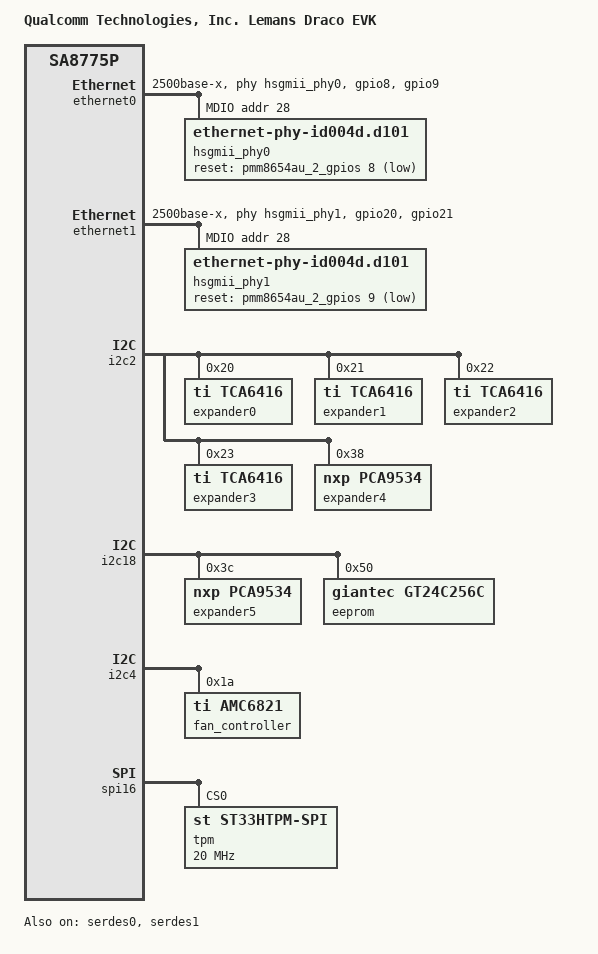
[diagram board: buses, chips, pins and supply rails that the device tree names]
// SPDX-License-Identifier: BSD-3-Clause
/*
 * Copyright (c) Qualcomm Technologies, Inc. and/or its subsidiaries.
 */
/dts-v1/;

#include "lemans-draco-evk-som.dtsi"

/ {
	model = "Qualcomm Technologies, Inc. Lemans Draco EVK";
	compatible = "qcom,lemans-draco-evk", "qcom,qcs9100",
		     "qcom,sa8775p";
	chassis-type = "embedded";

	aliases {
		ethernet0 = &ethernet0;
		ethernet1 = &ethernet1;
	};
};

&ethernet0 {
	phy-handle = <&hsgmii_phy0>;
	phy-mode = "2500base-x";

	pinctrl-0 = <&ethernet0_default>;
	pinctrl-names = "default";

	snps,mtl-rx-config = <&mtl_rx_setup>;
	snps,mtl-tx-config = <&mtl_tx_setup>;

	nvmem-cells = <&mac_addr0>;
	nvmem-cell-names = "mac-address";

	status = "okay";

	mdio {
		compatible = "snps,dwmac-mdio";
		#address-cells = <1>;
		#size-cells = <0>;

		hsgmii_phy0: ethernet-phy {
			compatible = "ethernet-phy-id004d.d101";
			reg = <0x1c>;
			reset-gpios = <&pmm8654au_2_gpios 8 GPIO_ACTIVE_LOW>;
			reset-assert-us = <11000>;
			reset-deassert-us = <70000>;
		};
	};

	mtl_rx_setup: rx-queues-config {
		snps,rx-queues-to-use = <4>;
		snps,rx-sched-sp;

		queue0 {
			snps,dcb-algorithm;
			snps,map-to-dma-channel = <0x0>;
			snps,route-up;
			snps,priority = <0x1>;
		};

		queue1 {
			snps,dcb-algorithm;
			snps,map-to-dma-channel = <0x1>;
			snps,route-ptp;
		};

		queue2 {
			snps,avb-algorithm;
			snps,map-to-dma-channel = <0x2>;
			snps,route-avcp;
		};

		queue3 {
			snps,avb-algorithm;
			snps,map-to-dma-channel = <0x3>;
			snps,priority = <0xc>;
		};
	};

	mtl_tx_setup: tx-queues-config {
		snps,tx-queues-to-use = <4>;

		queue0 {
			snps,dcb-algorithm;
		};

		queue1 {
			snps,dcb-algorithm;
		};

		queue2 {
			snps,avb-algorithm;
			snps,send_slope = <0x1000>;
			snps,idle_slope = <0x1000>;
			snps,high_credit = <0x3e800>;
			snps,low_credit = <0xffc18000>;
		};

		queue3 {
			snps,avb-algorithm;
			snps,send_slope = <0x1000>;
			snps,idle_slope = <0x1000>;
			snps,high_credit = <0x3e800>;
			snps,low_credit = <0xffc18000>;
		};
	};
};

&ethernet1 {
	phy-handle = <&hsgmii_phy1>;
	phy-mode = "2500base-x";

	pinctrl-0 = <&ethernet1_default>;
	pinctrl-names = "default";

	snps,mtl-rx-config = <&mtl_rx_setup1>;
	snps,mtl-tx-config = <&mtl_tx_setup1>;

	nvmem-cells = <&mac_addr1>;
	nvmem-cell-names = "mac-address";

	status = "okay";

	mdio {
		compatible = "snps,dwmac-mdio";
		#address-cells = <1>;
		#size-cells = <0>;

		hsgmii_phy1: ethernet-phy {
			compatible = "ethernet-phy-id004d.d101";
			reg = <0x1c>;
			reset-gpios = <&pmm8654au_2_gpios 9 GPIO_ACTIVE_LOW>;
			reset-assert-us = <11000>;
			reset-deassert-us = <70000>;
		};
	};

	mtl_rx_setup1: rx-queues-config {
		snps,rx-queues-to-use = <4>;
		snps,rx-sched-sp;

		queue0 {
			snps,dcb-algorithm;
			snps,map-to-dma-channel = <0x0>;
			snps,route-up;
			snps,priority = <0x1>;
		};

		queue1 {
			snps,dcb-algorithm;
			snps,map-to-dma-channel = <0x1>;
			snps,route-ptp;
		};

		queue2 {
			snps,avb-algorithm;
			snps,map-to-dma-channel = <0x2>;
			snps,route-avcp;
		};

		queue3 {
			snps,avb-algorithm;
			snps,map-to-dma-channel = <0x3>;
			snps,priority = <0xc>;
		};
	};

	mtl_tx_setup1: tx-queues-config {
		snps,tx-queues-to-use = <4>;

		queue0 {
			snps,dcb-algorithm;
		};

		queue1 {
			snps,dcb-algorithm;
		};

		queue2 {
			snps,avb-algorithm;
			snps,send_slope = <0x1000>;
			snps,idle_slope = <0x1000>;
			snps,high_credit = <0x3e800>;
			snps,low_credit = <0xffc18000>;
		};

		queue3 {
			snps,avb-algorithm;
			snps,send_slope = <0x1000>;
			snps,idle_slope = <0x1000>;
			snps,high_credit = <0x3e800>;
			snps,low_credit = <0xffc18000>;
		};
	};
};

&i2c2 {
	status = "okay";

	expander0: gpio@20 {
		compatible = "ti,tca6416";
		reg = <0x20>;
		#gpio-cells = <2>;
		gpio-controller;
	};

	expander1: gpio@21 {
		compatible = "ti,tca6416";
		reg = <0x21>;
		#gpio-cells = <2>;
		gpio-controller;
	};

	expander2: gpio@22 {
		compatible = "ti,tca6416";
		reg = <0x22>;
		#gpio-cells = <2>;
		gpio-controller;
	};

	expander3: gpio@23 {
		compatible = "ti,tca6416";
		reg = <0x23>;
		#gpio-cells = <2>;
		gpio-controller;
	};

	expander4: gpio@38 {
		compatible = "nxp,pca9534";
		reg = <0x38>;
		#gpio-cells = <2>;
		gpio-controller;
	};
};

&tlmm {
	expander_int: expander-int-state {
		pins = "gpio22";
		function = "gpio";
		bias-pull-up;
		input-enable;
	};

	ethernet0_default: ethernet0-default-state {
		ethernet0_mdc: ethernet0-mdc-pins {
			pins = "gpio8";
			function = "emac0_mdc";
			drive-strength = <16>;
			bias-pull-up;
		};

		ethernet0_mdio: ethernet0-mdio-pins {
			pins = "gpio9";
			function = "emac0_mdio";
			drive-strength = <16>;
			bias-pull-up;
		};
	};

	ethernet1_default: ethernet1-default-state {
		ethernet1_mdc: ethernet1-mdc-pins {
			pins = "gpio20";
			function = "emac1_mdc";
			drive-strength = <16>;
			bias-pull-up;
		};

		ethernet1_mdio: ethernet1-mdio-pins {
			pins = "gpio21";
			function = "emac1_mdio";
			drive-strength = <16>;
			bias-pull-up;
		};
	};
};

&i2c18 {
	status = "okay";

	expander5: gpio@3c {
		compatible = "nxp,pca9534";
		reg = <0x3c>;
		#gpio-cells = <2>;
		gpio-controller;
	};

	eeprom@50 {
		compatible = "giantec,gt24c256c", "atmel,24c256";
		reg = <0x50>;
		pagesize = <64>;

		nvmem-layout {
			compatible = "fixed-layout";
			#address-cells = <1>;
			#size-cells = <1>;

			mac_addr0: mac-addr@0 {
				reg = <0x0 0x6>;
			};

			mac_addr1: mac-addr@6 {
				reg = <0x6 0x6>;
			};
		};
	};
};

&i2c4 {
	status = "okay";

	fan_controller: fan@1a {
		compatible = "ti,amc6821";
		reg = <0x1a>;
		#pwm-cells = <2>;

		fan {
			pwms = <&fan_controller 40000 PWM_POLARITY_INVERTED>;
		};
	};
};

&qup_i2c4_default {
	drive-strength = <6>;
	bias-pull-up;
};

&serdes0 {
	phy-supply = <&vreg_l5a>;

	status = "okay";
};

&serdes1 {
	phy-supply = <&vreg_l5a>;

	status = "okay";
};

&spi16 {
	status = "okay";

	tpm@0 {
		compatible = "st,st33htpm-spi", "tcg,tpm_tis-spi";
		reg = <0>;
		spi-max-frequency = <20000000>;
	};
};
